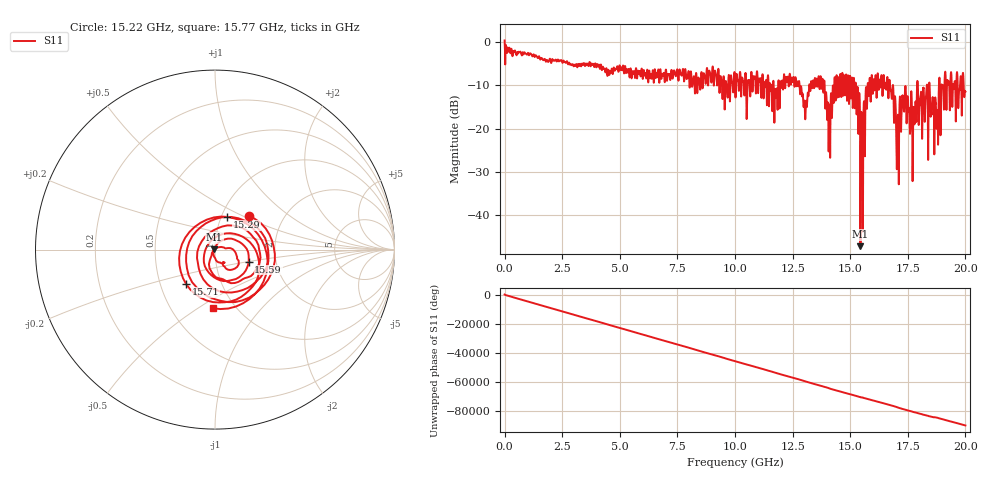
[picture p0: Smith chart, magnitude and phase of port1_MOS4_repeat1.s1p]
! MS46122B
! 2250307/22442219
! 7/25/2025 1:44:03 PM
! C:\USERS\SPARKY\DOCUMENTS\VNA_DATA\JULY25_2025\3K\PORT1_MOS4_REPEAT1.S1P
! CHANNEL.1
! TR.MEASUREMENT
! RAW.DATA
# GHZ S RI R 50.0
! FREQ.GHZ  S11RE  S11IM
!; PortSelection: Port_1
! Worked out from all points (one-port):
!   10001 points, 1 MHz to 20 GHz, reference 50 ohm
!   lowest |S11| = -47.2 dB at 15.45 GHz (marker M1), VSWR 1.01, Z = 49.6 + j0.111 ohm
!   |S11| at or under -10 dB: 12.8 GHz to 13.22 GHz (417.7 MHz wide, 3.21 % of centre); 15.25 GHz to 15.76 GHz (506.5 MHz wide, 3.27 % of centre); 16.86 GHz to 17.9 GHz (1.042 GHz wide, 6 % of centre) (the widest 3 of 89)
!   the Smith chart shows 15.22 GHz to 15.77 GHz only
!   S11 on the Smith chart (normalised r, x): 15.22 GHz: 1.34, +0.55; 15.29 GHz: 1.07, +0.40; 15.59 GHz: 1.45, -0.20; 15.71 GHz: 0.68, -0.28; 15.77 GHz: 0.79, -0.58
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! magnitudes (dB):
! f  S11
! 1 MHz  0.4
! 2.501 GHz  -4.7
! 5.001 GHz  -5.5
! 7.501 GHz  -6.3
! 10 GHz  -8.7
! 11.78 GHz  -12.7
! 12.5 GHz  -9.2
! 13.04 GHz  -17.6
! 13.79 GHz  -8.5
! 14.06 GHz  -24.6
! 14.4 GHz  -7.7
! 15 GHz  -8.0
! 15.22 GHz  -11.4
! 15.29 GHz  -14.2
! 15.45 GHz  -47.2
! 15.59 GHz  -14.0
! 15.71 GHz  -12.0
! 15.77 GHz  -9.7
! 16.78 GHz  -11.4
! 17.05 GHz  -20.2
! 17.33 GHz  -15.5
! 17.5 GHz  -13.4
! 17.78 GHz  -18.9
! 17.85 GHz  -15.3
! 18.26 GHz  -15.1
! 18.73 GHz  -16.6
! 19.05 GHz  -12.1
! 20 GHz  -11.5
